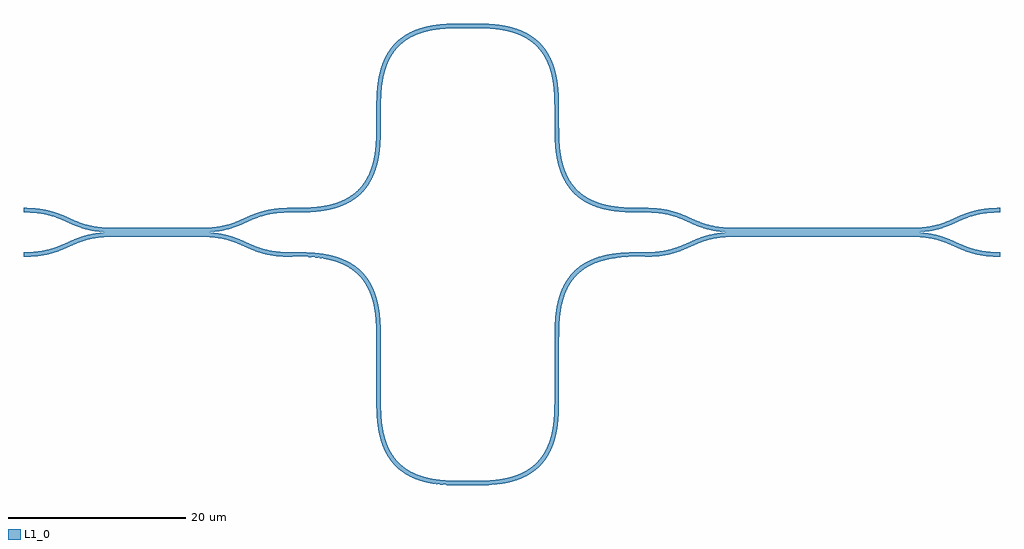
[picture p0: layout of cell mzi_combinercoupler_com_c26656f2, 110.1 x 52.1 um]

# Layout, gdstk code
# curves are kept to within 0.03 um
from math import pi, radians
import gdstk
lib = gdstk.Library(unit=1e-6, precision=1e-09)
def R(c, l, rs):  # rectangles x0, y0, x1, y1
    for r in rs: c.add(gdstk.rectangle(r[:2], r[2:], *l))
def P(c, l, *ps):  # polygons
    for p in ps: c.add(gdstk.Polygon(p, *l))
L1_0 = (1, 0)

coupler_gap0_length10 = lib.new_cell('coupler_gap0_length10')
R(coupler_gap0_length10, L1_0, [(0,-0.25,10,0.25), (0,0.25,10,0.75)])
P(coupler_gap0_length10, L1_0, [(0,-0.25),(-1.481,-0.327),(-2.857,-0.58),(-3.971,-0.952),(-6.096,-1.86),(-7.32,-2.228),(-8.59,-2.433),(-10,-2.5),(-10,-2),(-8.519,-1.923),(-7.143,-1.67),(-6.029,-1.298),(-3.904,-0.39),(-2.68,-0.022),(-1.41,0.183),(0,0.25)],
  [(0,0.75),(-1.481,0.827),(-2.857,1.08),(-3.971,1.452),(-6.096,2.36),(-7.32,2.728),(-8.59,2.933),(-10,3),(-10,2.5),(-8.519,2.423),(-7.143,2.17),(-6.029,1.798),(-3.904,0.89),(-2.68,0.522),(-1.41,0.317),(0,0.25)],
  [(10,0.75),(11.481,0.827),(12.857,1.08),(13.971,1.452),(16.096,2.36),(17.32,2.728),(18.59,2.933),(20,3),(20,2.5),(18.519,2.423),(17.143,2.17),(16.029,1.798),(13.904,0.89),(12.68,0.522),(11.41,0.317),(10,0.25)],
  [(10,-0.25),(11.481,-0.327),(12.857,-0.58),(13.971,-0.952),(16.096,-1.86),(17.32,-2.228),(18.59,-2.433),(20,-2.5),(20,-2),(18.519,-1.923),(17.143,-1.67),(16.029,-1.298),(13.904,-0.39),(12.68,-0.022),(11.41,0.183),(10,0.25)])

coupler_gap0_length20 = lib.new_cell('coupler_gap0_length20')
R(coupler_gap0_length20, L1_0, [(0,-0.25,20,0.25), (0,0.25,20,0.75)])
P(coupler_gap0_length20, L1_0, [(0,-0.25),(-1.481,-0.327),(-2.857,-0.58),(-3.971,-0.952),(-6.096,-1.86),(-7.32,-2.228),(-8.59,-2.433),(-10,-2.5),(-10,-2),(-8.519,-1.923),(-7.143,-1.67),(-6.029,-1.298),(-3.904,-0.39),(-2.68,-0.022),(-1.41,0.183),(0,0.25)],
  [(0,0.75),(-1.481,0.827),(-2.857,1.08),(-3.971,1.452),(-6.096,2.36),(-7.32,2.728),(-8.59,2.933),(-10,3),(-10,2.5),(-8.519,2.423),(-7.143,2.17),(-6.029,1.798),(-3.904,0.89),(-2.68,0.522),(-1.41,0.317),(0,0.25)],
  [(20,0.75),(21.481,0.827),(22.857,1.08),(23.971,1.452),(26.096,2.36),(27.32,2.728),(28.59,2.933),(30,3),(30,2.5),(28.519,2.423),(27.143,2.17),(26.029,1.798),(23.904,0.89),(22.68,0.522),(21.41,0.317),(20,0.25)],
  [(20,-0.25),(21.481,-0.327),(22.857,-0.58),(23.971,-0.952),(26.096,-1.86),(27.32,-2.228),(28.59,-2.433),(30,-2.5),(30,-2),(28.519,-1.923),(27.143,-1.67),(26.029,-1.298),(23.904,-0.39),(22.68,-0.022),(21.41,0.183),(20,0.25)])

bend_euler = lib.new_cell('bend_euler')
P(bend_euler, L1_0, [(0,-0.25),(1.602,-0.235),(2.93,-0.158),(3.973,-0.02),(4.865,0.175),(5.829,0.491),(6.664,0.882),(7.404,1.353),(8.073,1.927),(8.647,2.596),(9.118,3.336),(9.509,4.171),(9.825,5.135),(10.02,6.027),(10.158,7.07),(10.235,8.398),(10.25,10),(9.75,10),(9.731,8.272),(9.651,7.025),(9.494,5.933),(9.213,4.826),(8.921,4.063),(8.591,3.419),(8.163,2.785),(7.751,2.313),(7.215,1.837),(6.581,1.409),(5.937,1.079),(5.217,0.801),(4.247,0.542),(2.975,0.349),(1.728,0.269),(0,0.25)])

straight_length800n = lib.new_cell('straight_length800n')
R(straight_length800n, L1_0, [(0,-0.25,0.8,0.25)])

straight_length100n = lib.new_cell('straight_length100n')
R(straight_length100n, L1_0, [(0,-0.25,0.1,0.25)])

mzi_arm_bendbend_euler__ = lib.new_cell('mzi_arm_bendbend_euler__4dd4d8f3')
mzi_arm_bendbend_euler__.add(gdstk.Reference(bend_euler, (0,0)))
mzi_arm_bendbend_euler__.add(gdstk.Reference(straight_length800n, (10,10), rotation=pi/2))
mzi_arm_bendbend_euler__.add(gdstk.Reference(bend_euler, (20,20.8), rotation=pi))
mzi_arm_bendbend_euler__.add(gdstk.Reference(straight_length100n, (20,20.8)))
mzi_arm_bendbend_euler__.add(gdstk.Reference(bend_euler, (30.1,10.8), rotation=pi/2))
mzi_arm_bendbend_euler__.add(gdstk.Reference(straight_length800n, (30.1,10.8), rotation=3*pi/2))
mzi_arm_bendbend_euler__.add(gdstk.Reference(bend_euler, (30.1,10), rotation=3*pi/2))

straight_length5p8 = lib.new_cell('straight_length5p8')
R(straight_length5p8, L1_0, [(0,-0.25,5.8,0.25)])

c_mzi_arm_bendbend_euler__ = lib.new_cell('mzi_arm_bendbend_euler__f75c4604')
c_mzi_arm_bendbend_euler__.add(gdstk.Reference(bend_euler, (0,0)))
c_mzi_arm_bendbend_euler__.add(gdstk.Reference(straight_length5p8, (10,10), rotation=pi/2))
c_mzi_arm_bendbend_euler__.add(gdstk.Reference(bend_euler, (20,25.8), rotation=pi))
c_mzi_arm_bendbend_euler__.add(gdstk.Reference(straight_length100n, (20,25.8)))
c_mzi_arm_bendbend_euler__.add(gdstk.Reference(bend_euler, (30.1,15.8), rotation=pi/2))
c_mzi_arm_bendbend_euler__.add(gdstk.Reference(straight_length5p8, (30.1,15.8), rotation=3*pi/2))
c_mzi_arm_bendbend_euler__.add(gdstk.Reference(bend_euler, (30.1,10), rotation=3*pi/2))

mzi_combinercoupler_com_ = lib.new_cell('mzi_combinercoupler_com_c26656f2')
mzi_combinercoupler_com_.add(gdstk.Reference(coupler_gap0_length10, (0,0)))
mzi_combinercoupler_com_.add(gdstk.Reference(coupler_gap0_length20, (90.1,0.5), rotation=pi))
mzi_combinercoupler_com_.add(gdstk.Reference(mzi_arm_bendbend_euler__, (20,2.75)))
mzi_combinercoupler_com_.add(gdstk.Reference(c_mzi_arm_bendbend_euler__, (20,-2.25), x_reflection=True))

lib.write_gds('mzi_combinercoupler_com_c26656f2.gds')
